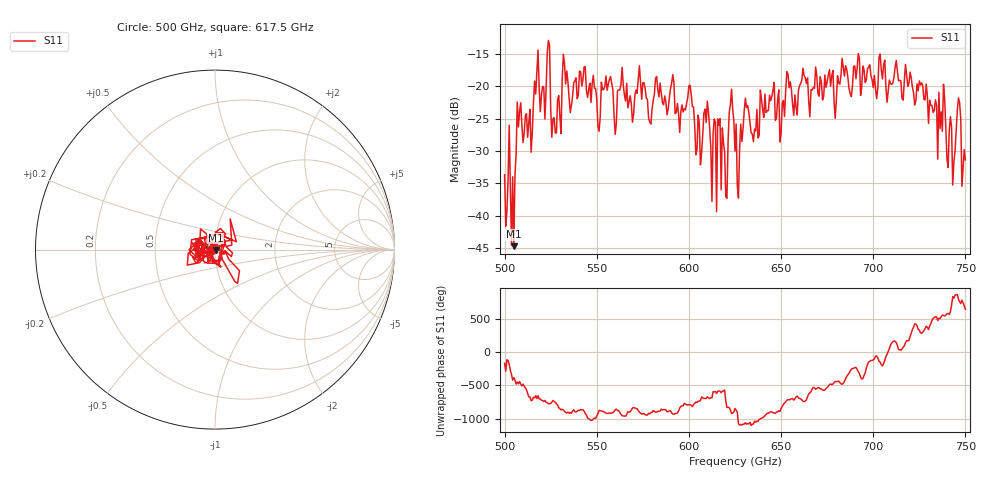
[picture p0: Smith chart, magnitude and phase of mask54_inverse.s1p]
!Created with skrf (http://scikit-rf.org).
# GHz S MA R 50.0
!freq magS11 angS11
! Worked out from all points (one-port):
!   401 points, 500 GHz to 750 GHz, reference 50 ohm
!   lowest |S11| = -44.7 dB at 505 GHz (marker M1), VSWR 1.01, Z = 50.5 - j0.249 ohm
!   |S11| at or under -10 dB: start of sweep to end of sweep
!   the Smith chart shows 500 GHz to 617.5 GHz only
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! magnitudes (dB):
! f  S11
! 500 GHz  -33.7
! 505 GHz  -44.7
! 508.1 GHz  -23.9
! 513.8 GHz  -23.6
! 516.9 GHz  -21.2
! 520.6 GHz  -20.0
! 523.8 GHz  -12.9
! 526.9 GHz  -24.9
! 531.2 GHz  -18.9
! 542.5 GHz  -19.0
! 550.6 GHz  -26.2
! 562.5 GHz  -20.6
! 579.4 GHz  -25.8
! 590.6 GHz  -19.5
! 593.8 GHz  -22.7
! 600.6 GHz  -19.8
! 605 GHz  -24.4
! 609.4 GHz  -25.6
! 620 GHz  -37.1
! 623.1 GHz  -20.4
! 625 GHz  -30.0
! 626.2 GHz  -35.4
! 656.2 GHz  -22.8
! 687.5 GHz  -21.1
! 718.8 GHz  -20.0
! 743.8 GHz  -31.7
! 746.2 GHz  -21.8
! 750 GHz  -31.4
